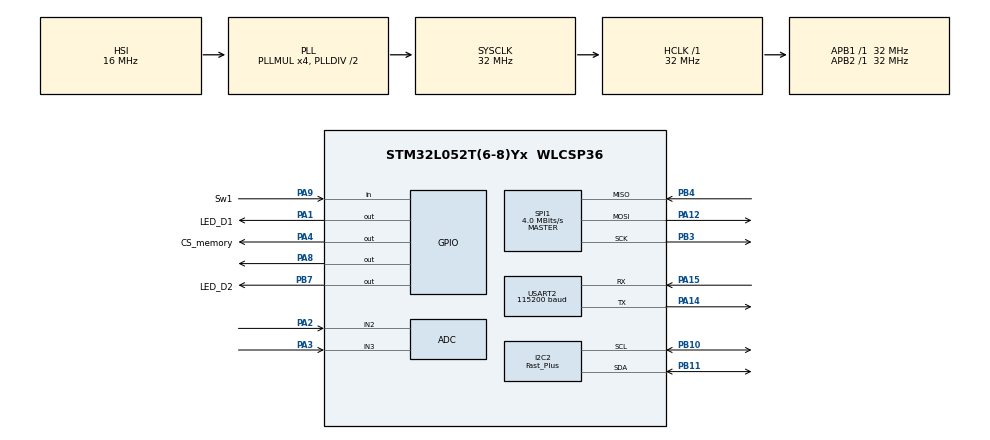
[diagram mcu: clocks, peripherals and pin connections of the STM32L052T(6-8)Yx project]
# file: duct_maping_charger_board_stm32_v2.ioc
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ADC.ClockPrescaler=ADC_CLOCK_SYNC_PCLK_DIV4
ADC.ContinuousConvMode=ENABLE
ADC.EOCSelection=ADC_EOC_SEQ_CONV
I2C2.I2C_Speed_Mode=I2C_Fast_Plus
I2C2.Speed=700
I2C2.Timing=0x00100421
LPTIM1.ClockPrescaler=LPTIM_PRESCALER_DIV128
Mcu.Family=STM32L0
Mcu.Name=STM32L052T(6-8)Yx
Mcu.Package=WLCSP36
NVIC.LPTIM1_IRQn=true\:0\:0\:false\:false\:true\:true
NVIC.TIM22_IRQn=true\:0\:0\:false\:false\:true\:true
PA1.GPIO_Label=LED_D1
PA1.GPIO_PuPd=GPIO_PULLUP
PA1.Signal=GPIO_Output
PA12.Mode=Full_Duplex_Master
PA12.Signal=SPI1_MOSI
PA14.Mode=Asynchronous
PA14.Signal=USART2_TX
PA15.Mode=Asynchronous
PA15.Signal=USART2_RX
PA2.Mode=IN2
PA2.Signal=ADC_IN2
PA3.Mode=IN3
PA3.Signal=ADC_IN3
PA4.GPIO_Label=CS_memory
PA4.GPIO_PuPd=GPIO_PULLUP
PA4.Signal=GPIO_Output
PA8.GPIO_PuPd=GPIO_PULLUP
PA8.Signal=GPIO_Output
PA9.GPIO_Label=Sw1
PA9.GPIO_PuPd=GPIO_PULLUP
PA9.Signal=GPIO_Input
PB10.Mode=I2C
PB10.Signal=I2C2_SCL
PB11.Mode=I2C
PB11.Signal=I2C2_SDA
PB3.Mode=Full_Duplex_Master
PB3.Signal=SPI1_SCK
PB4.Mode=Full_Duplex_Master
PB4.Signal=SPI1_MISO
PB7.GPIO_Label=LED_D2
PB7.GPIO_PuPd=GPIO_PULLUP
PB7.PinState=GPIO_PIN_SET
PB7.Signal=GPIO_Output
ProjectManager.HeapSize=0x200
ProjectManager.StackSize=0x400
ProjectManager.TargetToolchain=MDK-ARM V5
RCC.AHBFreq_Value=32000000
RCC.APB1Freq_Value=32000000
RCC.APB1TimFreq_Value=32000000
RCC.APB2Freq_Value=32000000
RCC.APB2TimFreq_Value=32000000
RCC.HCLKFreq_Value=32000000
RCC.HSI16_VALUE=16000000
RCC.HSI48_VALUE=48000000
RCC.HSI_VALUE=16000000
RCC.LSE_VALUE=32768
RCC.MSI_VALUE=2097000
RCC.PLLMUL=RCC_PLLMUL_4
RCC.SYSCLKFreq_VALUE=32000000
RCC.SYSCLKSource=RCC_SYSCLKSOURCE_PLLCLK
RCC.VCOOutputFreq_Value=64000000
SPI1.BaudRatePrescaler=SPI_BAUDRATEPRESCALER_8
SPI1.CalculateBaudRate=4.0 MBits/s
SPI1.Direction=SPI_DIRECTION_2LINES
SPI1.Mode=SPI_MODE_MASTER
SPI1.VirtualType=VM_MASTER
TIM22.Period=50999
TIM22.Prescaler=0
USART2.BaudRate=115200
USART2.VirtualMode-Asynchronous=VM_ASYNC
USART2.WordLength=UART_WORDLENGTH_8B
VP_ADC_TempSens_Input.Mode=IN-TempSens
VP_LPTIM1_VS_LPTIM_counterModeInternalClock.Mode=Counts__internal_clock_event_00
VP_TIM22_VS_ClockSourceINT.Mode=Internal
board=duct_maping_charger_board_stm32_v2

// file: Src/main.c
/**
  ******************************************************************************
  * File Name          : main.c
  * Description        : Main program body
  ******************************************************************************
  *
  * COPYRIGHT(c) 2017 STMicroelectronics
  *
  * Redistribution and use in source and binary forms, with or without modification,
  * are permitted provided that the following conditions are met:
  *   1. Redistributions of source code must retain the above copyright notice,
  *      this list of conditions and the following disclaimer.
  *   2. Redistributions in binary form must reproduce the above copyright notice,
  *      this list of conditions and the following disclaimer in the documentation
  *      and/or other materials provided with the distribution.
  *   3. Neither the name of STMicroelectronics nor the names of its contributors
  *      may be used to endorse or promote products derived from this software
  *      without specific prior written permission.
  *
  * THIS SOFTWARE IS PROVIDED BY THE COPYRIGHT HOLDERS AND CONTRIBUTORS "AS IS"
  * AND ANY EXPRESS OR IMPLIED WARRANTIES, INCLUDING, BUT NOT LIMITED TO, THE
  * IMPLIED WARRANTIES OF MERCHANTABILITY AND FITNESS FOR A PARTICULAR PURPOSE ARE
  * DISCLAIMED. IN NO EVENT SHALL THE COPYRIGHT HOLDER OR CONTRIBUTORS BE LIABLE
  * FOR ANY DIRECT, INDIRECT, INCIDENTAL, SPECIAL, EXEMPLARY, OR CONSEQUENTIAL
  * DAMAGES (INCLUDING, BUT NOT LIMITED TO, PROCUREMENT OF SUBSTITUTE GOODS OR
  * SERVICES; LOSS OF USE, DATA, OR PROFITS; OR BUSINESS INTERRUPTION) HOWEVER
  * CAUSED AND ON ANY THEORY OF LIABILITY, WHETHER IN CONTRACT, STRICT LIABILITY,
  * OR TORT (INCLUDING NEGLIGENCE OR OTHERWISE) ARISING IN ANY WAY OUT OF THE USE
  * OF THIS SOFTWARE, EVEN IF ADVISED OF THE POSSIBILITY OF SUCH DAMAGE.
  *
  ******************************************************************************
  */
#include "main.h"
#include "stm32l0xx_hal.h"
#include "adc.h"
#include "i2c.h"
#include "lptim.h"
#include "spi.h"
#include "tim.h"
#include "usart.h"
#include "gpio.h"

/* USER CODE BEGIN Includes */
#include "FLASH.h"
#include "MPU9250.h"
#include "user.h"
/* USER CODE END Includes */

/* USER CODE BEGIN PV */
/* Private variables ---------------------------------------------------------*/
/* We need to implement own __FILE struct */
/* FILE struct is used from __FILE */
struct __FILE {
    int dummy;
};

/* You need this if you want use printf */
/* Struct FILE is implemented in stdio.h */
FILE __stdout;

int fputc(int ch, FILE *f) {
    /* Do your stuff here */
    /* Send your custom byte */
    /* Send byte to USART */
    //TM_USART_Putc(USART1, ch);
    HAL_UART_Transmit(&huart2,(uint8_t *)&ch,1,0xFFFF);
    /* If everything is OK, you have to return character written */
    return ch;
    /* If character is not correct, you can return EOF (-1) to stop writing */
    //return -1;
}

/* USER CODE END PV */

void SystemClock_Config(void);
void Error_Handler(void);

/* USER CODE BEGIN PFP */
/* Private function prototypes -----------------------------------------------*/
void read_inital_values(void);
static inline int Flash_full(void);
void MX_TIM22_Init2(uint16_t prescaler,uint16_t period);

/* USER CODE END PFP */

int main(void)
{

  /* USER CODE BEGIN 1 */
init_seq=0;
  /* USER CODE END 1 */

  /* MCU Configuration----------------------------------------------------------*/

  /* Reset of all peripherals, Initializes the Flash interface and the Systick. */
  HAL_Init();

  /* Configure the system clock */
  SystemClock_Config();

  /* Initialize all configured peripherals */
  MX_GPIO_Init();
  MX_I2C2_Init();
  MX_SPI1_Init();
  MX_USART2_UART_Init();
  MX_ADC_Init();
  MX_LPTIM1_Init();
  MX_TIM22_Init();

  /* USER CODE BEGIN 2 */
//HAL_TIM_Base_MspInit(&htim22);
HAL_TIM_Base_Start_IT(&htim22);
//HAL_LPTIM_MspInit(&hlptim1);
//	HAL_NVIC_SetPriority(LPTIM1_IRQn,1,0);
//	HAL_NVIC_EnableIRQ(LPTIM1_IRQn);
//HAL_LPTIM_MspInit():
 MX_TIM22_Init2(150,50999);
resetMPU9250(); // Reset registers to default in preparation for device calibration
calibrateMPU9250(gyroBias, accelBias); // Calibrate gyro and accelerometers, load biases in bias registers
initMPU9250();
initAK8963(magCalibration);
HAL_ADC_Start(&hadc);
  /* USER CODE END 2 */

  /* Infinite loop */
  /* USER CODE BEGIN WHILE */
//write_EN_Flash();//need to enable flash for writing befor erase
//SER_FLASH_ERASE();//erase command function call
// HAL_Delay(1000);//delay must be 1.5s for full erase
//HAL_Delay(500);//========

//HAL_Delay(500);//========

//read_inital_values();//READ INITAL VALUE OF mpu9250 all registers
//init_seq=1;//variable used for detecting if initilaization has been done for sensor

read = false;
read_complet=false;
first= false;
program_start=false;
page_A23_A16=0x00, page_A15_A8=0x00, page_A7_A0=0x00;
uint8_t LF='\n';
uint8_t CR='\r';
HAL_Delay(5000);// delay befor start

  while (1)
  {
  /* USER CODE END WHILE */

  /* USER CODE BEGIN 3 */

		while(program_start==false)
		{
			//printf("		ready to record datat\n\r");
			//htim22.Init.Prescaler = 2;// for 10ms value is 4 for 1ms value 0 for 1.6ms value is 0
			//htim22.Init.Period = 31999;//for 10ms value is 63999 for 1ms value is 31999 for 1.6ms value is 50999
			HAL_ADC_Start(&hadc);
//			while((HAL_ADC_GetValue(&hadc))<=0x5ff)//read adc for touch sensing
//			{
////				printf("adc_value_start recording=%x\n\r",HAL_ADC_GetValue(&hadc));
////			 HAL_Delay(200);

//			}
//				printf("adc_value_after touch=%x\n\r",HAL_ADC_GetValue(&hadc));

			//			while(HAL_GPIO_ReadPin(Sw1_GPIO_Port, Sw1_Pin)==1)
//			{
//				;
//			}
			 MX_TIM22_Init2(1,63999);//0,50999= 1,6ms =45s //  99,63999=200ms =10min // 1,63999=4ms=2min

				page_A23_A16=0;
        page_A15_A8=0;
        page_A7_A0=0;
			read_inital_values();
			write_EN_Flash();//need to enable flash for writing befor erase
		SER_FLASH_ERASE();//erase command function call
    HAL_Delay(1000);//delay must be 1.5s for full erase
		HAL_Delay(1000);//========
		program_start=true;
		init_seq=1;//variable used for detecting if initilaization has been done for sensor
		////while(read==false);//wait untill array is full
			printf("adc_value=%x\n\r",HAL_ADC_GetValue(&hadc));
		}

		 //if((read==true) && (Flash_tx_rx[1] == 0x07) && (Flash_tx_rx[2] ==0xFF) && (Flash_tx_rx[3] ==0x00))
   if( Flash_full())//check if flash is full and ready to be read out
		{
		//	printf("ready to read\n\r");
			 MX_TIM22_Init2(300,50999);
//			while((HAL_ADC_GetValue(&hadc))<=0x5ff)//read adc for touch sensing
//			{
//				printf("adc_value=%x\n\r",HAL_ADC_GetValue(&hadc));
//				HAL_Delay(200);
//			}
//			while(HAL_GPIO_ReadPin(Sw1_GPIO_Port, Sw1_Pin)==1)
//			{
//				;
//			}
			HAL_Delay (1000);
			MX_TIM22_Init2(500,50999);
//			 			 for(int j=0;j<=255;j++)
//			 {
//				 printf("samples_befor read[%i]=%x\n\r",j,Sensor_data[j]);
//			 }
				page_A23_A16=0;
        page_A15_A8=0;
        page_A7_A0=0;
			 Flash_tx_rx[0] = 0x03;
       Flash_tx_rx[1] = 0x00;
       Flash_tx_rx[2] = 0x00;
       Flash_tx_rx[3] = 0x00;

			 //MX_USART2_UART_Init();
			 //HAL_Delay(5000);

			 uint8_t bu = 0;
			 while(bu!='t')
			 {
			 HAL_UART_Receive(&huart2, &bu, 1, 100000);
			 }

		while(read_complet==false)
     {
//			 if(Flash_tx_rx[2] == 0xFF)
//				 {
//					 printf("Flash_tx_rx=%x",Flash_tx_rx[1]);
//					 printf("%x\n\r",Flash_tx_rx[2]);
//				 }
//				if(Flash_tx_rx[1] == 0x07)
//				 {
//					 printf("Flash_tx_rx=%x",Flash_tx_rx[1]);
//					 printf("%x\n\r",Flash_tx_rx[2]);
//				 }
			 Flash_tx_rx[0] = Read_Data;//page read command prviously this location stored page write command
			 FLASH_CS_0;
			 HAL_SPI_Transmit(&hspi1,&Flash_tx_rx[0], 4, 10);

			 HAL_SPI_Receive(&hspi1, &Sensor_data[0], 256, 10);
			 FLASH_CS_1;
			 for(int i=0;i<=255;i++)
			 {
				 //printf("samples[%i]=%x\n\r",i,Sensor_data[i]);
				// printf("%x\n\r",Sensor_data[i]);
				 HAL_UART_Transmit(&huart2,&Sensor_data[i],1,0xFFFF);
				// if(i==254)
				// {
//			printf("temp=%f\n\r",((float)((int16_t)(((int16_t)Sensor_data[255]) << 8 | Sensor_data[254]))/333.87f) + 21.0f);//read temprature out
				// }
				 //HAL_UART_Transmit(&huart2,&LF,1,0xFFFF);
				// HAL_UART_Transmit(&huart2,&CR,1,0xFFFF);
			 }
			 		if( (Flash_tx_rx[1] == 0x07) && (Flash_tx_rx[2] ==0xFF) && (Flash_tx_rx[3] ==0x00))
					{
        read_complet=true;
				}
		 else{

				Flash_Store();//formulate array with page command and address of location increment 255 after every call
			}

		 }

//printf("Flash_address=%x%x%x\n\r",Flash_tx_rx[1],Flash_tx_rx[2],Flash_tx_rx[3]);
		 //HAL_SPI_DeInit(&hspi1);
		init_seq=0;
		first=false;
		program_start=false;
		read=false;
		read_complet=false;
		while(1);//must remove for continuse opration added to test one memory transfer

		 }

  }
  /* USER CODE END 3 */

}

/** System Clock Configuration
*/
void SystemClock_Config(void)
{

  RCC_OscInitTypeDef RCC_OscInitStruct;
  RCC_ClkInitTypeDef RCC_ClkInitStruct;
  RCC_PeriphCLKInitTypeDef PeriphClkInit;

    /**Configure the main internal regulator output voltage
    */
  __HAL_PWR_VOLTAGESCALING_CONFIG(PWR_REGULATOR_VOLTAGE_SCALE1);

    /**Initializes the CPU, AHB and APB busses clocks
    */
  RCC_OscInitStruct.OscillatorType = RCC_OSCILLATORTYPE_HSI;
  RCC_OscInitStruct.HSIState = RCC_HSI_ON;
  RCC_OscInitStruct.HSICalibrationValue = 16;
  RCC_OscInitStruct.PLL.PLLState = RCC_PLL_ON;
  RCC_OscInitStruct.PLL.PLLSource = RCC_PLLSOURCE_HSI;
  RCC_OscInitStruct.PLL.PLLMUL = RCC_PLLMUL_4;
  RCC_OscInitStruct.PLL.PLLDIV = RCC_PLLDIV_2;
  if (HAL_RCC_OscConfig(&RCC_OscInitStruct) != HAL_OK)
  {
    Error_Handler();
  }

    /**Initializes the CPU, AHB and APB busses clocks
    */
  RCC_ClkInitStruct.ClockType = RCC_CLOCKTYPE_HCLK|RCC_CLOCKTYPE_SYSCLK
                              |RCC_CLOCKTYPE_PCLK1|RCC_CLOCKTYPE_PCLK2;
  RCC_ClkInitStruct.SYSCLKSource = RCC_SYSCLKSOURCE_PLLCLK;
  RCC_ClkInitStruct.AHBCLKDivider = RCC_SYSCLK_DIV1;
  RCC_ClkInitStruct.APB1CLKDivider = RCC_HCLK_DIV1;
  RCC_ClkInitStruct.APB2CLKDivider = RCC_HCLK_DIV1;

  if (HAL_RCC_ClockConfig(&RCC_ClkInitStruct, FLASH_LATENCY_1) != HAL_OK)
  {
    Error_Handler();
  }

  PeriphClkInit.PeriphClockSelection = RCC_PERIPHCLK_USART2|RCC_PERIPHCLK_LPTIM1;
  PeriphClkInit.Usart2ClockSelection = RCC_USART2CLKSOURCE_PCLK1;
  PeriphClkInit.LptimClockSelection = RCC_LPTIM1CLKSOURCE_PCLK;

  if (HAL_RCCEx_PeriphCLKConfig(&PeriphClkInit) != HAL_OK)
  {
    Error_Handler();
  }

    /**Configure the Systick interrupt time
    */
  HAL_SYSTICK_Config(HAL_RCC_GetHCLKFreq()/1000);

    /**Configure the Systick
    */
  HAL_SYSTICK_CLKSourceConfig(SYSTICK_CLKSOURCE_HCLK);

  /* SysTick_IRQn interrupt configuration */
  HAL_NVIC_SetPriority(SysTick_IRQn, 0, 0);
}

/* USER CODE BEGIN 4 */
static inline int Flash_full(void) {
    if((read==true) && (Flash_tx_rx[1] == 0x07) && (Flash_tx_rx[2] ==0xFF) && (Flash_tx_rx[3] ==0x00))
        return 1;
    else
        return 0;
}
void read_inital_values(void)
{
			int16_t init_val[8];
	uint8_t whoami = readByte(MPU9250_ADDRESS, WHO_AM_I_MPU9250);
	printf("I AM 0x%x\n\r", whoami);
	whoami = readByte(AK8963_ADDRESS, WHO_AM_I_AK8963);
	printf("I AM 0x%x\n\r", whoami);
	readAccelData(&init_val[0]);
	printf("acl_X=%i   acl_Y=%i  acl_Z=%i\n\r",init_val[0],init_val[1],init_val[2]);
	printf("Acc_X_H=%x\n\r", reg8_bit[X_H]);
	printf("Acc_X_L=%x\n\r", reg8_bit[X_L]);
	printf("Acc_Y_H=%x\n\r", reg8_bit[Y_H]);
	printf("Acc_Y_L=%x\n\r", reg8_bit[Y_L]);
	printf("Acc_Z_H=%x\n\r", reg8_bit[Z_H]);
	printf("Acc_Z_L=%x\n\r", reg8_bit[Z_L]);

	readGyroData(&init_val[0]);
	printf("GYR_X=%i   GYR_Y=%i  GYR_Z=%i\n\r",init_val[0],init_val[1],init_val[2]);
	printf("GYR_X_H=%x\n\r", reg8_bit[X_H]);
	printf("GYR_X_L=%x\n\r", reg8_bit[X_L]);
	printf("GYR_Y_H=%x\n\r", reg8_bit[Y_H]);
	printf("GYR_Y_L=%x\n\r", reg8_bit[Y_L]);
	printf("GYR_Z_H=%x\n\r", reg8_bit[Z_H]);
	printf("GYR_Z_L=%x\n\r", reg8_bit[Z_L]);

readMagData(&init_val[0]);
	printf("Mag_X=%i   Mag_Y=%i  Mag_Z=%i\n\r",init_val[0],init_val[1],init_val[2]);
	printf("Mag_X_H=%x\n\r", reg8_bit[X_H]);
	printf("Mag_X_L=%x\n\r", reg8_bit[X_L]);
	printf("Mag_Y_H=%x\n\r", reg8_bit[Y_H]);
	printf("Mag_Y_L=%x\n\r", reg8_bit[Y_L]);
	printf("Mag_Z_H=%x\n\r", reg8_bit[Z_H]);
	printf("Mag_Z_L=%x\n\r", reg8_bit[Z_L]);

}

void MX_TIM22_Init2(uint16_t prescaler,uint16_t period)
{
  TIM_ClockConfigTypeDef sClockSourceConfig;
  TIM_MasterConfigTypeDef sMasterConfig;

  htim22.Instance = TIM22;
  htim22.Init.Prescaler = prescaler;
  htim22.Init.CounterMode = TIM_COUNTERMODE_UP;
  htim22.Init.Period = period;
  htim22.Init.ClockDivision = TIM_CLOCKDIVISION_DIV1;
  if (HAL_TIM_Base_Init(&htim22) != HAL_OK)
  {
    Error_Handler();
  }

  sClockSourceConfig.ClockSource = TIM_CLOCKSOURCE_INTERNAL;
  if (HAL_TIM_ConfigClockSource(&htim22, &sClockSourceConfig) != HAL_OK)
  {
    Error_Handler();
  }

  sMasterConfig.MasterOutputTrigger = TIM_TRGO_RESET;
  sMasterConfig.MasterSlaveMode = TIM_MASTERSLAVEMODE_DISABLE;
  if (HAL_TIMEx_MasterConfigSynchronization(&htim22, &sMasterConfig) != HAL_OK)
  {
    Error_Handler();
  }

}

/* USER CODE END 4 */

void Error_Handler(void)
{
  while(1)
  {
  }
}

/************************ (C) COPYRIGHT STMicroelectronics *****END OF FILE****/
